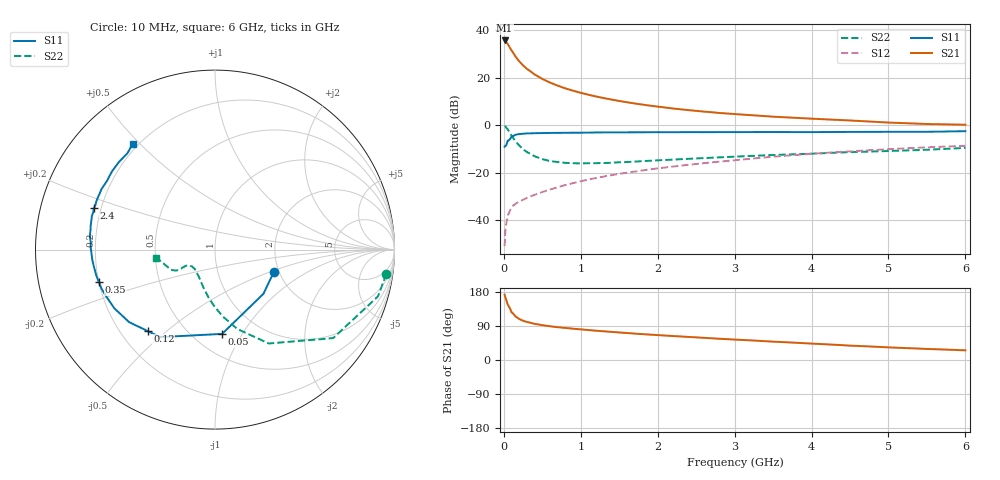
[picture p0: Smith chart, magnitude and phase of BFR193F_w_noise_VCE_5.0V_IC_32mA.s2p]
! Infineon Technologies  Discrete & RF Semiconductors
! BFR193F
! VCE =  5.0 V,  IC =  32 mA
! Common Emitter S-Parameters:  Jan 2017
# GHz  S  MA  R  50
!  f  S11  S21  S12  S22
! GHz  MAG  ANG  MAG  ANG  MAG  ANG  MAG  ANG
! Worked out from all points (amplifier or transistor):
!   77 points, 10 MHz to 6 GHz, reference 50 ohm
!   highest |S21| = 35.7 dB at 10 MHz (marker M1)
!   |S21| within 3 dB of that: start of sweep to 77.83 MHz
!   unconditionally stable (mu >= 1): 1.053 GHz to 2.661 GHz
!   at 130 MHz: K = 0.39, MSG = 31.9 dB, |S12| = -33.8 dB
!   at 2.2 GHz: K = 1.02, MAG = 11.4 dB, |S12| = -17.5 dB
!   at 6 GHz: K = 0.86, MSG = 4.4 dB, |S12| = -8.7 dB
!   lowest NFmin = 1.21 dB at 450 MHz
!   S11 on the Smith chart (normalised r, x): 10 MHz: 1.87, -0.54; 50 MHz: 0.68, -0.82; 120 MHz: 0.31, -0.43; 350 MHz: 0.20, -0.13; 2.4 GHz: 0.17, +0.16; 6 GHz: 0.18, +0.47
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0.01  0.3506 -21.3  61.21 172.6  0.0028 80.6  0.964 -8.1
0.02  0.3653 -42.4  59.51 165.0  0.006 79.7  0.9449 -16.0
0.05  0.4714 -85.2  51.82 146.4  0.0121 65.3  0.8227 -36.8
0.1  0.5754 -122.1  37.81 126.1  0.0185 52.7  0.6035 -60.1
0.12  0.5889 -129.6  33.86 122.5  0.0199 51.6  0.5422 -64.9
0.15  0.6266 -139.9  28.28 115.2  0.0219 50.3  0.4595 -74.3
0.2  0.6493 -149.8  22.25 108.2  0.0245 48.9  0.3721 -83.8
0.25  0.6597 -156.7  18.18 103.6  0.0266 50.6  0.3101 -91.4
0.3  0.6689 -161.1  15.39 100.3  0.0291 52.3  0.2718 -97.3
0.35  0.6718 -164.3  13.54 98.1  0.0315 53.9  0.2453 -101.7
0.4  0.6767 -167.5  11.72 95.3  0.0339 55.2  0.2205 -107.1
0.5  0.6809 -171.7  9.449 91.9  0.0387 59.9  0.1922 -114.7
0.6  0.6856 -174.9  7.922 89.0  0.0439 61.7  0.1751 -121.1
0.8  0.6901 -179.5  5.969 84.6  0.0546 65.9  0.1602 -131.0
1.1  0.6978 175.3  4.38 79.0  0.0711 68.9  0.1578 -139.8
1.5  0.7033 170.3  3.24 72.7  0.0938 70.9  0.1649 -146.9
2.1  0.7103 163.9  2.353 64.5  0.1281 71.5  0.1845 -150.7
2.4  0.7131 161.2  2.075 60.9  0.1458 71.5  0.1951 -151.2
3.1  0.7142 155.3  1.672 52.9  0.1885 70.6  0.22 -150.5
4.1  0.7145 146.5  1.346 42.3  0.2549 66.8  0.254 -152.8
5.1  0.7242 136.5  1.119 32.5  0.3168 61.4  0.2884 -162.3
6  0.7456 128.0  1.021 25.6  0.3671 56.2  0.3313 -172.2
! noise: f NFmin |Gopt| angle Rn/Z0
0.45  1.21  0.4  177  0.06
0.9  1.3  0.43  177  0.07
1.9  1.86  0.58  -167  0.07
2.4  2.15  0.61  -158  0.12
